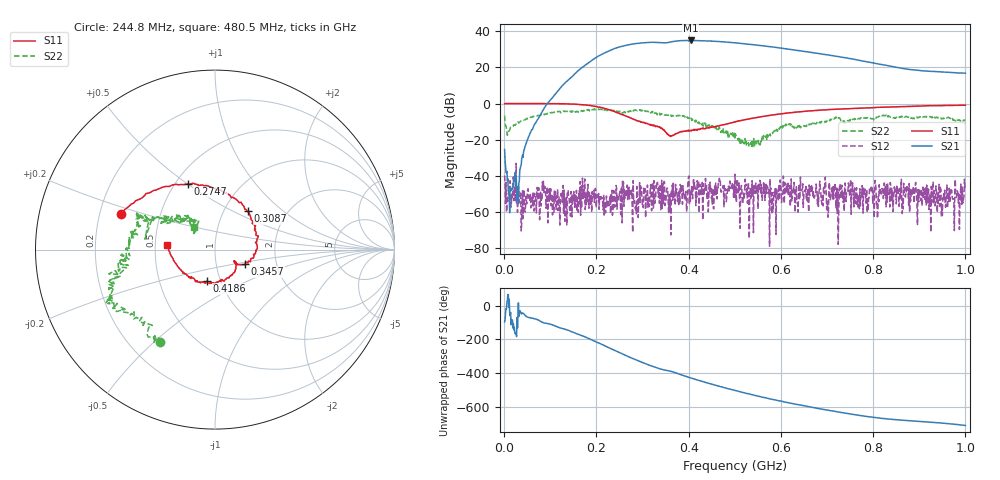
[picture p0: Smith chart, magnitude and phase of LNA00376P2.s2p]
! Created with skrf 1.9.0 (http://scikit-rf.org).
# Hz S RI R 50.0
!freq ReS11 ImS11 ReS21 ImS21 ReS12 ImS12 ReS22 ImS22
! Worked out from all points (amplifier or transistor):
!   1001 points, 1 MHz to 1 GHz, reference 50 ohm
!   highest |S21| = 35.0 dB at 404.6 MHz (marker M1)
!   |S21| within 3 dB of that: 259.3 MHz to 562.5 MHz (303.3 MHz wide, 73.8 % of centre)
!   unconditionally stable (mu >= 1): start of sweep to 82.66 MHz; 198.2 MHz to 279.6 MHz; 321.8 MHz to end of sweep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
!   at 166.8 MHz: K = 1.41, MAG = 28.8 dB, |S12| = -45.8 dB
!   at 500.5 MHz: K = 1.08, MAG = 34.7 dB, |S12| = -39.2 dB
!   at 1 GHz: K = 2.78, MAG = 24.4 dB, |S12| = -46.7 dB
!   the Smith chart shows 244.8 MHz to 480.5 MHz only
!   S11 on the Smith chart (normalised r, x): 244.8 MHz: 0.29, +0.17; 274.7 MHz: 0.58, +0.50; 308.7 MHz: 1.29, +0.60; 345.7 MHz: 1.38, -0.23; 418.6 MHz: 0.86, -0.31; 480.5 MHz: 0.58, +0.03
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1000000  0.9842 0.000806  -0.00501 -0.0528  -0.01 -0.00144  0.3063 0.3468
1.08892e8  0.5104 -0.8536  -0.7943 -1.493  0.00394 -0.000254  0.4201 -0.3824
1.67833e8  -0.2557 -0.8952  -9.728 -0.586  0.00113 0.000533  0.0399 -0.6356
2.09791e8  -0.6921 -0.3638  -15.39 16.46  -9.69e-05 0.00287  -0.1884 -0.6662
2.44756e8  -0.5249 0.2002  1.253 35.43  0.000939 0.000715  -0.305 -0.5143
2.74726e8  -0.1512 0.3646  27.49 34.18  -0.00382 -0.000343  -0.5016 -0.3316
3.08692e8  0.1826 0.2135  47.77 11.31  -0.00124 0.00183  -0.5761 -0.1891
3.34666e8  0.2258 -0.0157  48.18 -10.35  -0.000595 0.00244  -0.5166 -0.0633
3.45655e8  0.1661 -0.079  45.27 -16.83  -0.000192 0.00165  -0.4918 0.00862
3.72628e8  0.1207 -0.0833  42.05 -34.09  -0.00153 0.00244  -0.4387 0.1406
4.04596e8  0.0284 -0.1776  20.3 -52.3  0.000943 0.0034  -0.3394 0.1629
4.18582e8  -0.0437 -0.1752  9.177 -54.63  0.00566 -0.00455  -0.3019 0.1464
4.45555e8  -0.1708 -0.1307  -11.38 -52.78  0.00315 0.00188  -0.1703 0.1645
4.8052e8  -0.2669 0.0259  -31.74 -39.8  -0.000929 0.00405  -0.1158 0.1267
5.005e8  -0.2803 0.1452  -38.91 -28.88  0.00874 0.00657  -0.0767 0.0689
5.39461e8  -0.1917 0.3399  -42.16 -7.486  0.00243 -0.0047  -0.0613 -0.0189
5.84416e8  0.00518 0.4874  -35.01 11.24  0.000522 -0.0029  -0.1483 -0.0763
6.25375e8  0.2006 0.5275  -23.25 20.34  -0.000983 -0.00378  -0.1883 -0.1412
6.67333e8  0.3991 0.4868  -11.48 23.12  -0.000658 -0.00342  -0.2702 -0.0609
7.51249e8  0.6671 0.2829  3.997 17.03  0.00215 -0.00759  -0.3366 0.0338
8.34166e8  0.7985 0.024  7.576 8.099  -0.00213 0.00206  -0.4211 0.1354
1e9  0.729 -0.5271  6.866 1.073  -0.00463 -0.000362  -0.1171 0.3159
